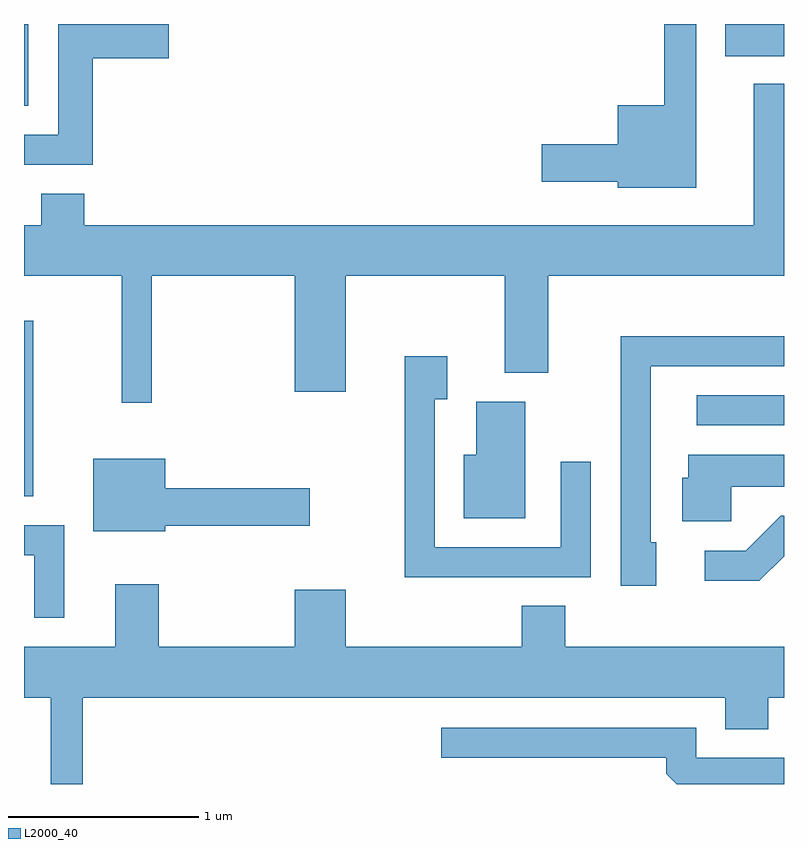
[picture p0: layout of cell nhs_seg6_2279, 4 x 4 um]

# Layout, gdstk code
import gdstk
lib = gdstk.Library(unit=1e-6, precision=1e-09)
def R(c, l, rs):  # rectangles x0, y0, x1, y1
    for r in rs: c.add(gdstk.rectangle(r[:2], r[2:], *l))
def P(c, l, *ps):  # polygons
    for p in ps: c.add(gdstk.Polygon(p, *l))
L2000_40 = (2000, 40)

nhs_seg6_2279 = lib.new_cell('nhs_seg6_2279')
R(nhs_seg6_2279, L2000_40, [(253.611,1637.676,253.659,1638.599), (257.153,1638.051,257.611,1638.209), (253.611,1639.731,253.634,1640.162), (257.301,1639.991,257.611,1640.162)])
P(nhs_seg6_2279, L2000_40, [(253.974,1639.981),(254.374,1639.981),(254.374,1640.162),(253.791,1640.162),(253.791,1639.579),(253.611,1639.579),(253.611,1639.421),(253.974,1639.421)],
  [(257.149,1640.162),(256.981,1640.162),(256.981,1639.734),(256.736,1639.734),(256.736,1639.529),(256.336,1639.529),(256.336,1639.331),(256.736,1639.331),(256.736,1639.301),(257.149,1639.301)],
  [(254.284,1638.836),(255.036,1638.836),(255.036,1638.226),(255.304,1638.226),(255.304,1638.836),(256.141,1638.836),(256.141,1638.326),(256.369,1638.326),(256.369,1638.836),(257.611,1638.836),(257.611,1639.848),(257.451,1639.848),(257.451,1639.104),(253.929,1639.104),(253.929,1639.269),(253.701,1639.269),(253.701,1639.104),(253.611,1639.104),(253.611,1638.836),(254.126,1638.836),(254.126,1638.168),(254.284,1638.168)],
  [(256.939,1637.434),(256.909,1637.434),(256.909,1638.361),(257.611,1638.361),(257.611,1638.519),(256.751,1638.519),(256.751,1637.206),(256.939,1637.206)],
  [(256.594,1637.858),(256.436,1637.858),(256.436,1637.409),(255.774,1637.409),(255.774,1638.186),(255.839,1638.186),(255.839,1638.414),(255.616,1638.414),(255.616,1637.251),(256.594,1637.251)],
  [(256.249,1638.174),(255.991,1638.174),(255.991,1637.894),(255.926,1637.894),(255.926,1637.561),(256.249,1637.561)],
  [(257.334,1637.726),(257.611,1637.726),(257.611,1637.894),(257.106,1637.894),(257.106,1637.774),(257.076,1637.774),(257.076,1637.546),(257.334,1637.546)],
  [(254.354,1637.521),(255.114,1637.521),(255.114,1637.719),(254.354,1637.719),(254.354,1637.874),(253.976,1637.874),(253.976,1637.491),(254.354,1637.491)],
  [(257.611,1637.361),(257.611,1637.574),(257.594,1637.574),(257.409,1637.389),(257.193,1637.389),(257.193,1637.231),(257.481,1637.231)],
  [(253.824,1637.524),(253.611,1637.524),(253.611,1637.366),(253.666,1637.366),(253.666,1637.038),(253.824,1637.038)],
  [(253.919,1636.616),(257.301,1636.616),(257.301,1636.451),(257.529,1636.451),(257.529,1636.616),(257.611,1636.616),(257.611,1636.884),(256.459,1636.884),(256.459,1637.099),(256.231,1637.099),(256.231,1636.884),(255.304,1636.884),(255.304,1637.184),(255.036,1637.184),(255.036,1636.884),(254.319,1636.884),(254.319,1637.214),(254.091,1637.214),(254.091,1636.884),(253.611,1636.884),(253.611,1636.616),(253.751,1636.616),(253.751,1636.162),(253.919,1636.162)],
  [(257.611,1636.299),(257.149,1636.299),(257.149,1636.459),(255.808,1636.459),(255.808,1636.301),(256.991,1636.301),(256.991,1636.217),(257.046,1636.162),(257.611,1636.162)])

lib.write_gds('nhs_seg6_2279.gds')
